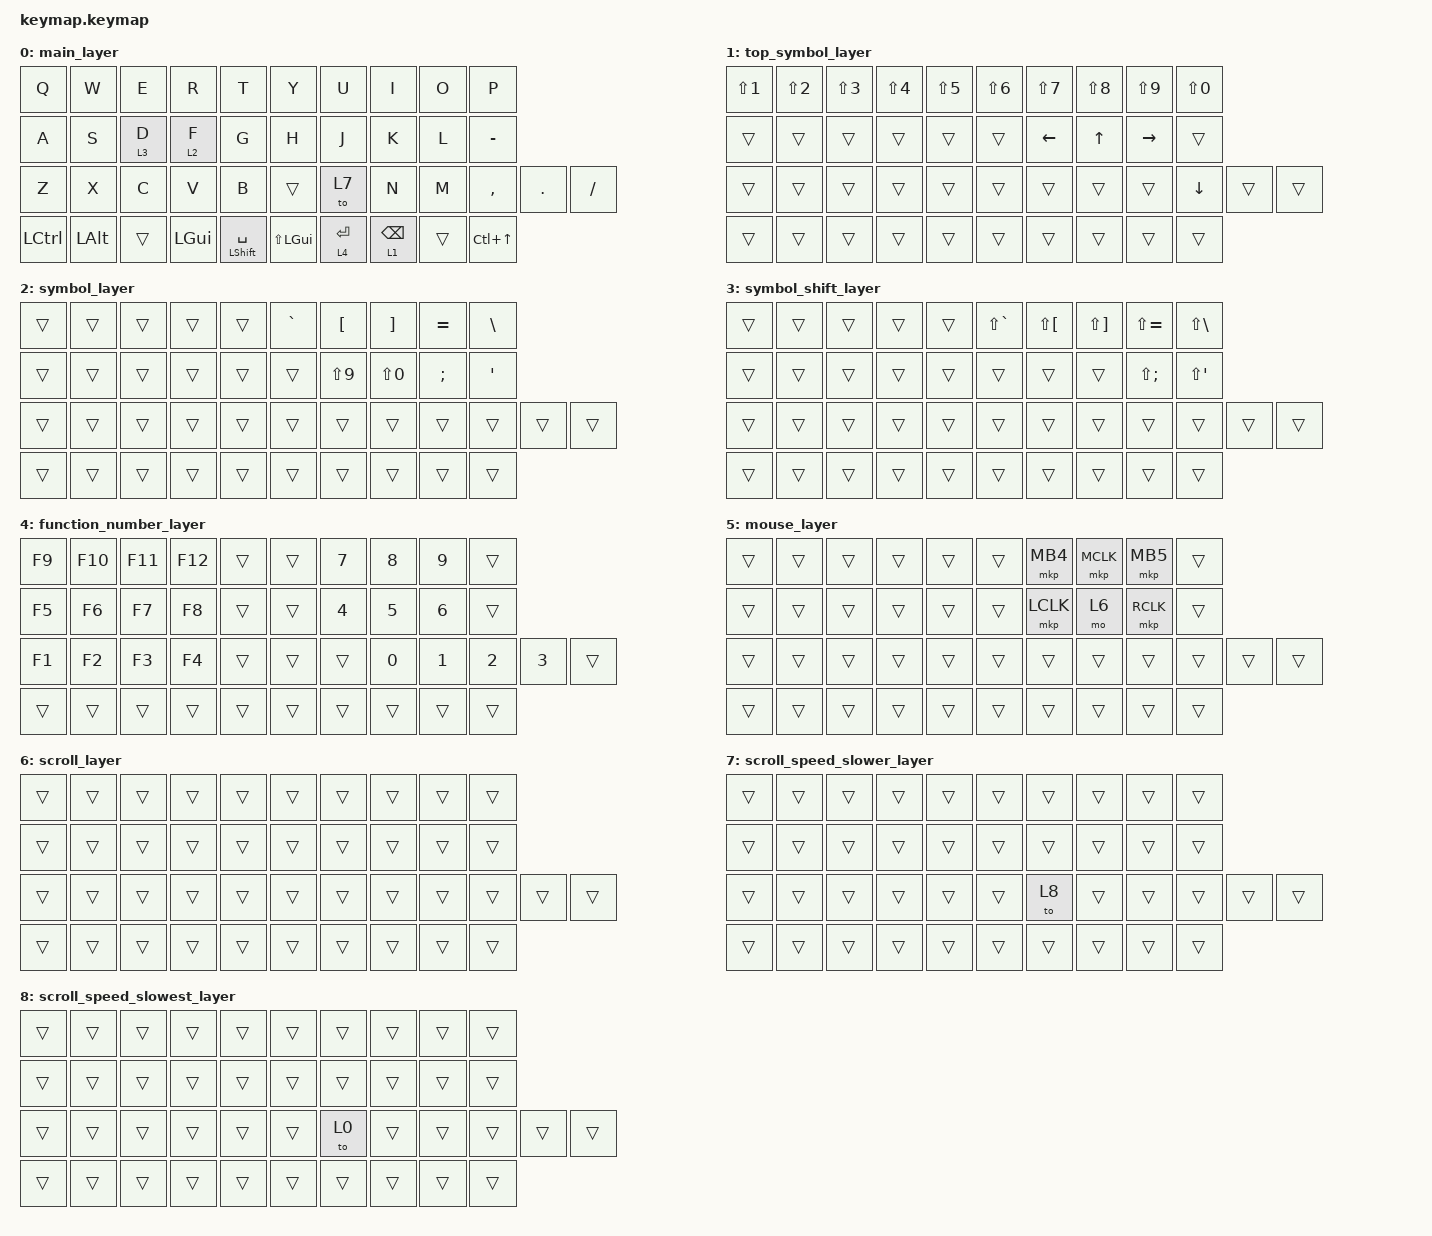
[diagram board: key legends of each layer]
#include <behaviors.dtsi>
#include <dt-bindings/zmk/keys.h>
#include <dt-bindings/zmk/pointing.h>

/ {
    combos {
        compatible = "zmk,combos";

        ei {
            bindings = <&kp LANG2>;
            key-positions = <21 22>;
        };

        kana {
            bindings = <&kp LANG1>;
            key-positions = <29 30>;
        };

        esc {
            bindings = <&kp ESC>;
            key-positions = <0 1>;
        };

        tab {
            bindings = <&kp TAB>;
            key-positions = <1 2>;
        };
    };

    keymap {
        compatible = "zmk,keymap";

        main_layer {
            bindings = <
&kp Q      &kp W     &kp E    &kp R         &kp T                 &kp Y             &kp U        &kp I       &kp O   &kp P
&kp A      &kp S     &lt 3 D  &lt 2 F       &kp G                 &kp H             &kp J        &kp K       &kp L   &kp MINUS
&kp Z      &kp X     &kp C    &kp V         &kp B                 &trans            &to 7        &kp N       &kp M   &kp COMMA         &kp DOT  &kp SLASH
&kp LCTRL  &kp LALT  &trans   &kp LEFT_GUI  &mt LEFT_SHIFT SPACE  &kp LS(LEFT_GUI)  &lt 4 ENTER  &lt 1 BSPC  &trans  &kp LC(UP_ARROW)
            >;
        };

        top_symbol_layer {
            bindings = <
&kp LS(N1)  &kp LS(N2)  &kp LS(N3)  &kp LS(N4)  &kp LS(N5)  &kp LS(N6)  &kp LS(N7)      &kp LS(N8)    &kp LS(N9)       &kp LS(N0)
&trans      &trans      &trans      &trans      &trans      &trans      &kp LEFT_ARROW  &kp UP_ARROW  &kp RIGHT_ARROW  &trans
&trans      &trans      &trans      &trans      &trans      &trans      &trans          &trans        &trans           &kp DOWN_ARROW  &trans  &trans
&trans      &trans      &trans      &trans      &trans      &trans      &trans          &trans        &trans           &trans
            >;
        };

        symbol_layer {
            bindings = <
&trans  &trans  &trans  &trans  &trans  &kp GRAVE  &kp LBKT    &kp RBKT    &kp EQUAL  &kp BACKSLASH
&trans  &trans  &trans  &trans  &trans  &trans     &kp LS(N9)  &kp LS(N0)  &kp SEMI   &kp SINGLE_QUOTE
&trans  &trans  &trans  &trans  &trans  &trans     &trans      &trans      &trans     &trans            &trans  &trans
&trans  &trans  &trans  &trans  &trans  &trans     &trans      &trans      &trans     &trans
            >;
        };

        symbol_shift_layer {
            bindings = <
&trans  &trans  &trans  &trans  &trans  &kp LS(GRAVE)  &kp LS(LBKT)  &kp LS(RBKT)  &kp LS(EQUAL)  &kp LS(BACKSLASH)
&trans  &trans  &trans  &trans  &trans  &trans         &trans        &trans        &kp LS(SEMI)   &kp LS(SINGLE_QUOTE)
&trans  &trans  &trans  &trans  &trans  &trans         &trans        &trans        &trans         &trans                &trans  &trans
&trans  &trans  &trans  &trans  &trans  &trans         &trans        &trans        &trans         &trans
            >;
        };

        function_number_layer {
            bindings = <
&kp F9  &kp F10  &kp F11  &kp F12  &trans  &trans        &kp N7        &kp N8        &kp N9        &trans
&kp F5  &kp F6   &kp F7   &kp F8   &trans  &trans        &kp NUMBER_4  &kp N5        &kp NUMBER_6  &trans
&kp F1  &kp F2   &kp F3   &kp F4   &trans  &trans        &trans        &kp NUMBER_0  &kp NUMBER_1  &kp NUMBER_2  &kp NUMBER_3  &trans
&trans  &trans   &trans   &trans   &trans  &trans        &trans        &trans        &trans        &trans
            >;
        };

        mouse_layer {
            bindings = <
&trans  &trans  &trans  &trans  &trans  &trans  &mkp MB4   &mkp MCLK  &mkp MB5   &trans
&trans  &trans  &trans  &trans  &trans  &trans  &mkp LCLK  &mo 6      &mkp RCLK  &trans
&trans  &trans  &trans  &trans  &trans  &trans  &trans     &trans     &trans     &trans  &trans  &trans
&trans  &trans  &trans  &trans  &trans  &trans  &trans     &trans     &trans     &trans
            >;
        };

        scroll_layer {
            bindings = <
&trans  &trans  &trans  &trans  &trans  &trans  &trans  &trans  &trans  &trans
&trans  &trans  &trans  &trans  &trans  &trans  &trans  &trans  &trans  &trans
&trans  &trans  &trans  &trans  &trans  &trans  &trans  &trans  &trans  &trans  &trans  &trans
&trans  &trans  &trans  &trans  &trans  &trans  &trans  &trans  &trans  &trans
            >;
        };

        /* Cycle speed at position 26: slow -> slower -> slowest -> slow. */
        scroll_speed_slower_layer {
            bindings = <
&trans  &trans  &trans  &trans  &trans  &trans  &trans  &trans  &trans  &trans
&trans  &trans  &trans  &trans  &trans  &trans  &trans  &trans  &trans  &trans
&trans  &trans  &trans  &trans  &trans  &trans  &to 8    &trans  &trans  &trans  &trans  &trans
&trans  &trans  &trans  &trans  &trans  &trans  &trans  &trans  &trans  &trans
            >;
        };

        scroll_speed_slowest_layer {
            bindings = <
&trans  &trans  &trans  &trans  &trans  &trans  &trans  &trans  &trans  &trans
&trans  &trans  &trans  &trans  &trans  &trans  &trans  &trans  &trans  &trans
&trans  &trans  &trans  &trans  &trans  &trans  &to 0    &trans  &trans  &trans  &trans  &trans
&trans  &trans  &trans  &trans  &trans  &trans  &trans  &trans  &trans  &trans
            >;
        };
    };
};
